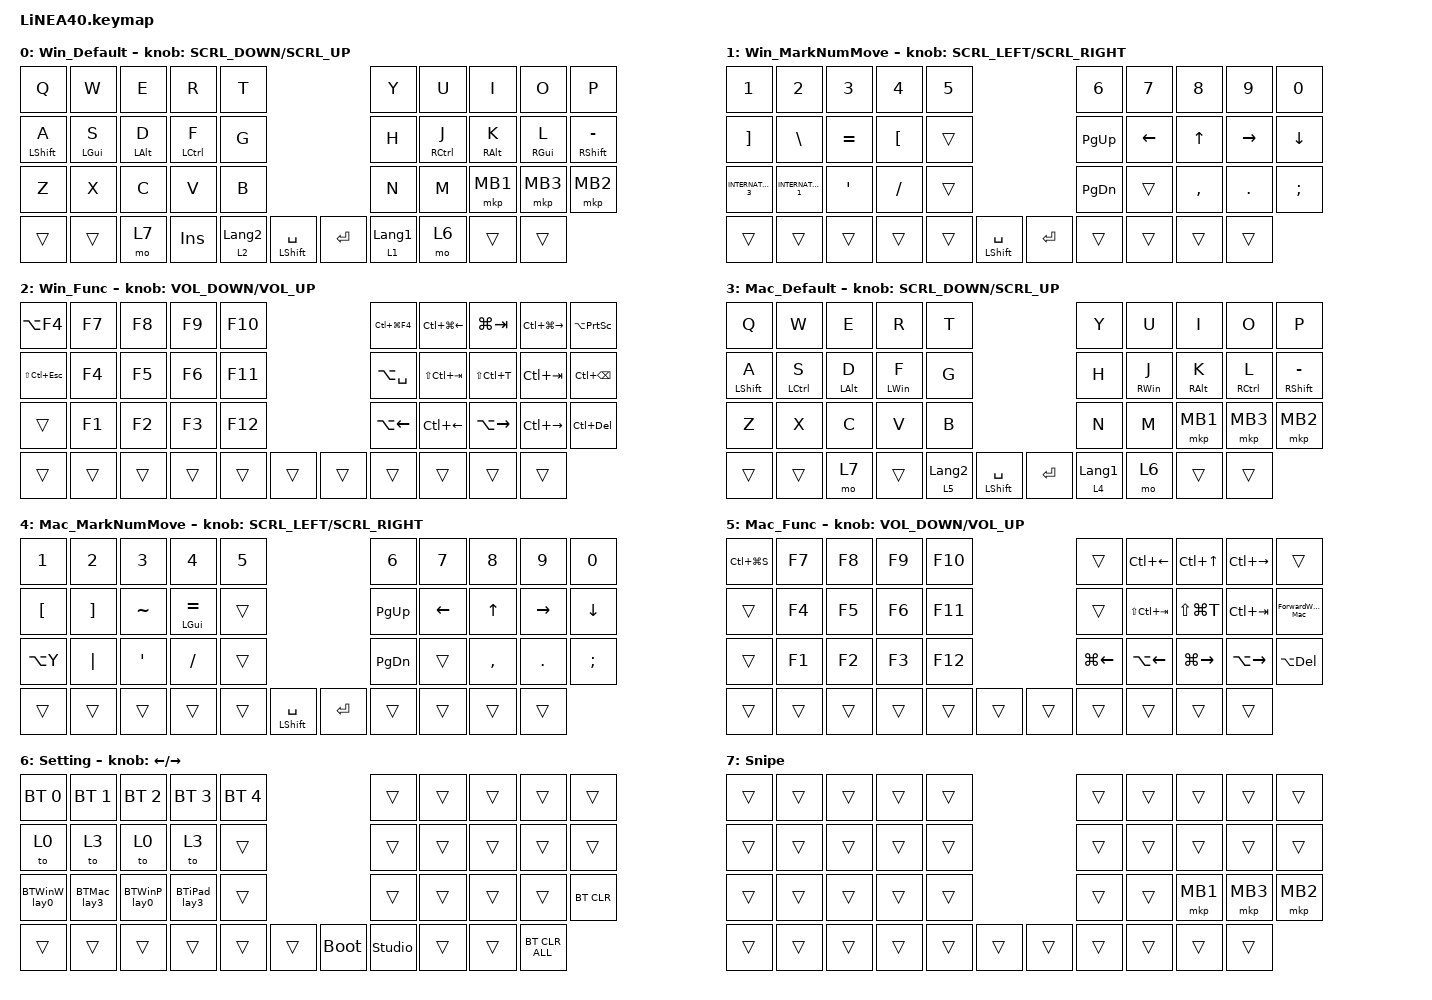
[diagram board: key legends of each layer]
#define ZMK_POINTING_DEFAULT_SCRL_VAL 150

#include <dt-bindings/zmk/input_transform.h>
#include <input/processors.dtsi>
#include <zephyr/dt-bindings/input/input-event-codes.h>
#include <behaviors.dtsi>
#include <dt-bindings/zmk/bt.h>
#include <dt-bindings/zmk/keys.h>
#include <dt-bindings/zmk/pointing.h>

#define MOUSE 1
#define MARK 2
#define CURSOR 3
#define FUNCTION 4
#define SCROLL 5
#define WIRELESS 6

//mouse cursol

&mmv {
    delay-ms = <20>;
    trigger-period-ms = <5>;
    time-to-max-speed-ms = <100>;
    acceleration-exponent = <2>;
};

//mouse scroll

&msc {
    delay-ms = <3>;
    trigger-period-ms = <3>;
    time-to-max-speed-ms = <100>;
    acceleration-exponent = <0>;
};

/ {
    input_processors {
        zip_wheel_scaler: zip_wheel_scaler {
            compatible = "zmk,input-processor-scaler";
            #input-processor-cells = <2>;
            type = <INPUT_EV_REL>;
            codes = <INPUT_REL_WHEEL>;
            track-remainders;
        };
    };
};

&msc_input_listener {
    speed_up {
        layers = <FUNCTION>;
        input-processors = <&zip_wheel_scaler 3 1>; //スクロールを3倍速にする
    };
};

&trackball_listener {
    scroller {
        layers = <SCROLL>;
        input-processors =
            <&zip_xy_transform INPUT_TRANSFORM_Y_INVERT>,
            //スクロール方向を逆転,,,,,,,,,,,,,,,,,,,,,,,,,,,,,,,,,,,,,,,
            <&zip_xy_to_scroll_mapper>;
    };
};

/ {
    combos {
        compatible = "zmk,combos";

        Backspace {
            bindings = <&kp BACKSPACE>;
            key-positions = <7 8>;
        };

        Delete {
            bindings = <&kp DELETE>;
            key-positions = <28 27>;
        };

        Tab {
            bindings = <&kp TAB>;
            key-positions = <11 12>;
        };

        Escape {
            bindings = <&kp ESCAPE>;
            key-positions = <1 2>;
        };

        Home {
            bindings = <&kp HOME>;
            key-positions = <20 21>;
        };

        End {
            bindings = <&kp END>;
            key-positions = <29 28>;
        };
    };

    behaviors {
        hml: home_row_mod_left {
            compatible = "zmk,behavior-hold-tap";
            #binding-cells = <2>;
            // balanced または tap-preferred を指定する
            flavor = "balanced";
            // 125から150（または170）に増やしてみる
            require-prior-idle-ms = <150>;
            // 200から280に増やして、長押しの判定を厳しくする
            tapping-term-ms = <280>; 
            quick-tap-ms = <175>;
            bindings = <&kp>, <&kp>;
            // List of keys on the right side of the keyboard
            hold-trigger-key-positions = <5 6 7 8 9 15 16 17 18 19 25 26 27 28 29>;
            hold-trigger-on-release;
        };
        hmr: home_row_mod_right {
            compatible = "zmk,behavior-hold-tap";
            #binding-cells = <2>;
            // balanced または tap-preferred を指定する
            flavor = "balanced";
            // 125から150（または170）に増やしてみる
            require-prior-idle-ms = <150>;
            // 200から280に増やして、長押しの判定を厳しくする
            tapping-term-ms = <280>; 
            quick-tap-ms = <175>;
            bindings = <&kp>, <&kp>;
            // List of keys on the left side of the keyboard
           hold-trigger-key-positions = <0 1 2 3 4 10 11 12 13 14 20 21 22 23 24>;
            hold-trigger-on-release;
        };

        re_kp: sensor_rotate_kp {
            compatible = "zmk,behavior-sensor-rotate-var";
            #sensor-binding-cells = <2>;
            bindings = <&kp>, <&kp>;
        };

        mouse_scrl: mouse_wheel_scrl {
            compatible = "zmk,behavior-sensor-rotate-var";
            #sensor-binding-cells = <2>;
            bindings = <&msc>, <&msc>;
            tap-ms = <20>;
        };
    };

    macros {
        BTWinW_lay0: BTWinW_lay0 {
            compatible = "zmk,behavior-macro";
            #binding-cells = <0>;
            bindings = <&bt BT_SEL 0>, <&macro_wait_time 200>, <&to 0>;

            label = "BTWIN1_LAY0";
        };

        BTMac_lay3: BTMac_lay3 {
            compatible = "zmk,behavior-macro";
            #binding-cells = <0>;
            bindings = <&bt BT_SEL 1>, <&macro_wait_time 200>, <&to 3>;

            label = "BTMAC_LAY3";
        };

        BTWinP_lay0: BTWin2_lay0 {
            compatible = "zmk,behavior-macro";
            #binding-cells = <0>;
            bindings = <&bt BT_SEL 2>, <&macro_wait_time 200>, <&to 0>;

            label = "BTWIN2_LAY0";
        };

        BTiPad_lay3: BTiPad_layer3 {
            compatible = "zmk,behavior-macro";
            #binding-cells = <0>;
            bindings = <&bt BT_SEL 3>, <&macro_wait_time 200>, <&to 3>;

            label = "BTIPAD_LAYER3";
        };

        ForwardWordDelete_Mac: ForwardWordDeleteForMac {
            compatible = "zmk,behavior-macro";
            #binding-cells = <0>;
            bindings =
                <&kp GLOBE &kp LA(BACKSPACE)>,
                <&macro_pause_for_release>;

            label = "FORWARDWORDDELETEFORMAC";
        };
    };

    keymap {
        compatible = "zmk,keymap";

        Win_Default {
            bindings = <
&kp Q             &kp W           &kp E           &kp R               &kp T                                                &kp Y             &kp U                &kp I            &kp O            &kp P
&hml LEFT_SHIFT A  &hml LEFT_GUI S  &hml LEFT_ALT D  &hml LEFT_CONTROL F  &kp G                                                &kp H             &hmr RIGHT_CONTROL J  &hmr RIGHT_ALT K  &hmr RIGHT_GUI L  &hmr RIGHT_SHIFT MINUS
&kp Z             &kp X           &kp C           &kp V               &kp B                                                &kp N             &kp M                &mkp MB1         &mkp MB3         &mkp MB2
&trans            &trans          &mo 7           &kp INS             &lt 2 LANGUAGE_2  &mt LEFT_SHIFT SPACE    &kp ENTER  &lt 1 LANGUAGE_1                       &mo 6            &trans           &trans
            >;

            sensor-bindings = <&mouse_scrl SCRL_DOWN SCRL_UP>;
        };

        Win_MarkNumMove {
            bindings = <
&kp NUMBER_1         &kp NUMBER_2         &kp NUMBER_3      &kp NUMBER_4      &kp N5                                     &kp NUMBER_6   &kp N7          &kp N8        &kp N9           &kp N0
&kp RIGHT_BRACKET    &kp BACKSLASH        &kp EQUAL         &kp LEFT_BRACKET  &trans                                     &kp PAGE_UP    &kp LEFT_ARROW  &kp UP_ARROW  &kp RIGHT_ARROW  &kp DOWN_ARROW
&kp INTERNATIONAL_3  &kp INTERNATIONAL_1  &kp SINGLE_QUOTE  &kp SLASH         &trans                                     &kp PAGE_DOWN  &trans          &kp COMMA     &kp PERIOD       &kp SEMICOLON
&trans               &trans               &trans            &trans            &trans  &mt LEFT_SHIFT SPACE    &kp ENTER  &trans                         &trans        &trans           &trans
            >;

            sensor-bindings = <&mouse_scrl SCRL_LEFT SCRL_RIGHT>;
        };

        Win_Func {
            bindings = <
&kp LA(F4)          &kp F7  &kp F8  &kp F9  &kp F10                    &kp LC(LG(F4))      &kp LC(LG(LEFT_ARROW))  &kp LG(TAB)          &kp LC(LG(RIGHT_ARROW))  &kp LA(PRINTSCREEN)
&kp LS(LC(ESCAPE))  &kp F4  &kp F5  &kp F6  &kp F11                    &kp LA(SPACE)       &kp LS(LC(TAB))         &kp LS(LC(T))        &kp LC(TAB)              &kp LC(BACKSPACE)
&trans              &kp F1  &kp F2  &kp F3  &kp F12                    &kp LA(LEFT_ARROW)  &kp LC(LEFT_ARROW)      &kp LA(RIGHT_ARROW)  &kp LC(RIGHT_ARROW)      &kp LC(DELETE)
&trans              &trans  &trans  &trans  &trans   &trans    &trans  &trans                                      &trans               &trans                   &trans
            >;

            sensor-bindings = <&re_kp C_VOLUME_DOWN C_VOLUME_UP>;
        };

        Mac_Default {
            bindings = <
&kp Q             &kp W               &kp E           &kp R           &kp T                                                &kp Y             &kp U            &kp I            &kp O                &kp P
&hml LEFT_SHIFT A  &hml LEFT_CONTROL S  &hml LEFT_ALT D  &hml LEFT_WIN F  &kp G                                                &kp H             &hmr RIGHT_WIN J  &hmr RIGHT_ALT K  &hmr RIGHT_CONTROL L  &hmr RIGHT_SHIFT MINUS
&kp Z             &kp X               &kp C           &kp V           &kp B                                                &kp N             &kp M            &mkp MB1         &mkp MB3             &mkp MB2
&trans            &trans              &mo 7           &trans          &lt 5 LANGUAGE_2  &mt LEFT_SHIFT SPACE    &kp ENTER  &lt 4 LANGUAGE_1                   &mo 6            &trans               &trans
            >;

            sensor-bindings = <&mouse_scrl SCRL_DOWN SCRL_UP>;
        };

        Mac_MarkNumMove {
            bindings = <
&kp NUMBER_1      &kp NUMBER_2       &kp NUMBER_3      &kp NUMBER_4        &kp N5                                     &kp NUMBER_6   &kp N7          &kp N8        &kp N9           &kp N0
&kp LEFT_BRACKET  &kp RIGHT_BRACKET  &kp TILDE         &mt LEFT_GUI EQUAL  &trans                                     &kp PAGE_UP    &kp LEFT_ARROW  &kp UP_ARROW  &kp RIGHT_ARROW  &kp DOWN
&kp LA(Y)         &kp PIPE           &kp SINGLE_QUOTE  &kp SLASH           &trans                                     &kp PAGE_DOWN  &trans          &kp COMMA     &kp PERIOD       &kp SEMICOLON
&trans            &trans             &trans            &trans              &trans  &mt LEFT_SHIFT SPACE    &kp ENTER  &trans                         &trans        &trans           &trans
            >;

            sensor-bindings = <&mouse_scrl SCRL_LEFT SCRL_RIGHT>;
        };

        Mac_Func {
            bindings = <
&kp LC(LG(S))  &kp F7  &kp F8  &kp F9  &kp F10                    &trans              &kp LC(LEFT_ARROW)  &kp LC(UP_ARROW)     &kp LC(RIGHT_ARROW)  &trans
&trans         &kp F4  &kp F5  &kp F6  &kp F11                    &trans              &kp LS(LC(TAB))     &kp LS(LG(T))        &kp LC(TAB)          &ForwardWordDelete_Mac
&trans         &kp F1  &kp F2  &kp F3  &kp F12                    &kp LG(LEFT_ARROW)  &kp LA(LEFT_ARROW)  &kp LG(RIGHT_ARROW)  &kp LA(RIGHT_ARROW)  &kp LA(DELETE)
&trans         &trans  &trans  &trans  &trans   &trans    &trans  &trans                                  &trans               &trans               &trans
            >;

            sensor-bindings = <&re_kp C_VOLUME_DOWN C_VOLUME_UP>;
        };

        Setting {
            bindings = <
&bt BT_SEL 0  &bt BT_SEL 1  &bt BT_SEL 2  &bt BT_SEL 3  &bt BT_SEL 4                         &trans          &trans  &trans  &trans  &trans
&to 0         &to 3         &to 0         &to 3         &trans                               &trans          &trans  &trans  &trans  &trans
&BTWinW_lay0  &BTMac_lay3   &BTWinP_lay0  &BTiPad_lay3  &trans                               &trans          &trans  &trans  &trans  &bt BT_CLR
&trans        &trans        &trans        &trans        &trans        &trans    &bootloader  &studio_unlock          &trans  &trans  &bt BT_CLR_ALL
            >;

            sensor-bindings = <&inc_dec_kp LEFT_ARROW RIGHT_ARROW>;
        };

        Snipe {
            bindings = <
&trans  &trans  &trans  &trans  &trans                    &trans  &trans  &trans    &trans    &trans
&trans  &trans  &trans  &trans  &trans                    &trans  &trans  &trans    &trans    &trans
&trans  &trans  &trans  &trans  &trans                    &trans  &trans  &mkp MB1  &mkp MB3  &mkp MB2
&trans  &trans  &trans  &trans  &trans  &trans    &trans  &trans          &trans    &trans    &trans
            >;
        };
    };
};
